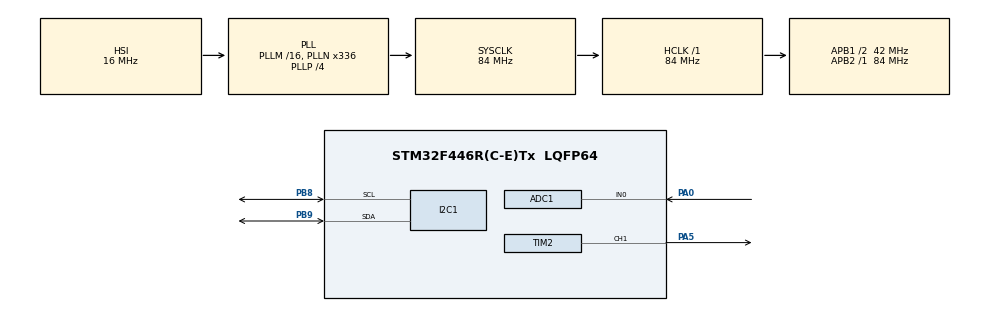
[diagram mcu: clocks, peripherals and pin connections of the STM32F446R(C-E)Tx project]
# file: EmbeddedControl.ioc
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ADC1.Channel-0\#ChannelRegularConversion=ADC_CHANNEL_0
ADC1.ContinuousConvMode=ENABLE
ADC1.DMAContinuousRequests=ENABLE
ADC1.NbrOfConversionFlag=1
ADC1.Rank-0\#ChannelRegularConversion=1
ADC1.SamplingTime-0\#ChannelRegularConversion=ADC_SAMPLETIME_3CYCLES
ADC1.master=1
Dma.ADC1.0.Direction=DMA_PERIPH_TO_MEMORY
Dma.ADC1.0.FIFOMode=DMA_FIFOMODE_DISABLE
Dma.ADC1.0.Instance=DMA2_Stream0
Dma.ADC1.0.MemDataAlignment=DMA_MDATAALIGN_HALFWORD
Dma.ADC1.0.MemInc=DMA_MINC_ENABLE
Dma.ADC1.0.Mode=DMA_CIRCULAR
Dma.ADC1.0.PeriphDataAlignment=DMA_PDATAALIGN_HALFWORD
Dma.ADC1.0.PeriphInc=DMA_PINC_DISABLE
Dma.ADC1.0.Priority=DMA_PRIORITY_LOW
Dma.Request0=ADC1
I2C1.I2C_Mode=I2C_Fast
Mcu.Family=STM32F4
Mcu.Name=STM32F446R(C-E)Tx
Mcu.Package=LQFP64
NVIC.DMA2_Stream0_IRQn=true\:0\:0\:false\:false\:true\:false\:true\:true
NVIC.PriorityGroup=NVIC_PRIORITYGROUP_0
NVIC.TIM6_DAC_IRQn=true\:0\:0\:false\:false\:true\:true\:true\:true
PA0-WKUP.Signal=ADCx_IN0
PA13.GPIO_Label=TMS
PA13.Mode=Serial_Wire
PA13.Signal=SYS_JTMS-SWDIO
PA14.GPIO_Label=TCK
PA14.Mode=Serial_Wire
PA14.Signal=SYS_JTCK-SWCLK
PA5.Signal=S_TIM2_CH1_ETR
PB3.GPIO_Label=SWO
PB3.Signal=SYS_JTDO-SWO
PB8.Mode=I2C
PB8.Signal=I2C1_SCL
PB9.Mode=I2C
PB9.Signal=I2C1_SDA
PH0-OSC_IN.Mode=HSE-External-Clock-Source
PH0-OSC_IN.Signal=RCC_OSC_IN
PH1-OSC_OUT.Mode=HSE-External-Clock-Source
PH1-OSC_OUT.Signal=RCC_OSC_OUT
ProjectManager.HeapSize=0x200
ProjectManager.StackSize=0x400
ProjectManager.TargetToolchain=STM32CubeIDE
RCC.48MHZClocksFreq_Value=84000000
RCC.AHBFreq_Value=84000000
RCC.APB1CLKDivider=RCC_HCLK_DIV2
RCC.APB1Freq_Value=42000000
RCC.APB1TimFreq_Value=84000000
RCC.APB2Freq_Value=84000000
RCC.APB2TimFreq_Value=84000000
RCC.CortexFreq_Value=84000000
RCC.FLatency-AdvancedSettings=FLASH_LATENCY_2
RCC.HCLKFreq_Value=84000000
RCC.HSE_VALUE=8000000
RCC.HSI_VALUE=16000000
RCC.PLLN=336
RCC.PLLP=RCC_PLLP_DIV4
RCC.SYSCLKFreq_VALUE=84000000
RCC.SYSCLKSource=RCC_SYSCLKSOURCE_PLLCLK
RCC.USBFreq_Value=168000000
RCC.VCOOutputFreq_Value=336000000
SH.ADCx_IN0.0=ADC1_IN0,IN0
SH.S_TIM2_CH1_ETR.0=TIM2_CH1,PWM Generation1 CH1
TIM2.Channel-PWM\ Generation1\ CH1=TIM_CHANNEL_1
TIM2.OCFastMode_PWM-PWM\ Generation1\ CH1=TIM_OCFAST_DISABLE
TIM2.Period=419999
TIM2.Pulse-PWM\ Generation1\ CH1=2000
TIM6.Period=265
TIM6.Prescaler=8399
VP_TIM6_VS_ClockSourceINT.Mode=Enable_Timer
board=NUCLEO-F446RE

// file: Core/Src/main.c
/* USER CODE BEGIN Header */
/**
  ******************************************************************************
  * @file           : main.c
  * @brief          : Progetto Levitating Ball
  ******************************************************************************
  * @attention
  *
  * Copyright (c) 2025 STMicroelectronics.
  * All rights reserved.
  *
  * This software is licensed under terms that can be found in the LICENSE file
  * in the root directory of this software component.
  * If no LICENSE file comes with this software, it is provided AS-IS.
  *
  ******************************************************************************
  */
/* USER CODE END Header */
#include "main.h"

/* USER CODE BEGIN Includes */
#include <stdio.h>
#include "vl53l1x.h"
#include "pid.h"
#include "potentiometer.h"
/* USER CODE END Includes */

ADC_HandleTypeDef hadc1;
DMA_HandleTypeDef hdma_adc1;

I2C_HandleTypeDef hi2c1;

TIM_HandleTypeDef htim2;
TIM_HandleTypeDef htim6;

/* USER CODE BEGIN PV */
/* --- FLAG DI SINCRONIZZAZIONE (volatile perché modificate/lette tra ISR e main) --- */

// Limiti fisici del tubo per la pallina levitante (in mm)
const float SETPOINT_MIN_MM = 40.0f;   // Posizione minima desiderata (fondo tubo)
const float SETPOINT_MAX_MM = 450.0f;  // Posizione massima desiderata (cima tubo)
volatile float setpoint_mm = 50.0f;    // Setpoint effettivo usato dal PID

volatile uint8_t loop_flag = 0;   // Alzata a 1 ogni 26ms dall'interrupt di TIM6
uint8_t print_flag = 0;           // Alzata a 1 ogni 10 cicli (200ms) per la telemetria
uint16_t print_counter = 0;       // Contatore secondario per rallentare le stampe

volatile uint16_t sensor_id = 0; //deve diventare 0xEACC (debug)
volatile uint8_t  sensor_ok = 0; // deve diventare 1 (debug)
volatile uint16_t distance_mm = 0; // i millimetri letti in tempo reale

PID_Controller fan_pid;

volatile float duty_output = 0.0f;
volatile uint32_t ccr_applied = 0;

/* USER CODE END PV */

void SystemClock_Config(void);
static void MX_GPIO_Init(void);
static void MX_DMA_Init(void);
static void MX_TIM6_Init(void);
static void MX_TIM2_Init(void);
static void MX_I2C1_Init(void);
static void MX_ADC1_Init(void);
/* USER CODE BEGIN PFP */
void Read_Sensors(void);
void Compute_PID(void);
void Update_Actuators(void);
void Print_Telemetry(void);
/* USER CODE END PFP */

/* USER CODE BEGIN 0 */
// Reindirizzamento di printf per funzionare sia su SWV/ITM sia su UART
int __io_putchar(int ch) {
    ITM_SendChar(ch);
    return ch;
}

/* USER CODE END 0 */

int main(void)
{

  /* MCU Configuration--------------------------------------------------------*/

  /* Reset of all peripherals, Initializes the Flash interface and the Systick. */
	HAL_Init();

  /* Configure the system clock */
  SystemClock_Config();

  /* Initialize all configured peripherals */
  MX_GPIO_Init();
  MX_DMA_Init();
  MX_TIM6_Init();
  MX_TIM2_Init();
  MX_I2C1_Init();
  MX_ADC1_Init();
  /* USER CODE BEGIN 2 */
  /* --- INIZIALIZZAZIONE E AVVIO SERVIZI (Prima del while) --- */
    // Avvia l'acquisizione continua del potenziometro in DMA
  	   Potentiometer_Init(&hadc1);

    // 1. Imposta un duty cycle di test (es. 50% con ARR = 419999 -> CCR = 210000)
      __HAL_TIM_SET_COMPARE(&htim2, TIM_CHANNEL_1, 0);

      // 2. Avvia la generazione PWM hardware sul canale 1 (PA5)
      HAL_TIM_PWM_Start(&htim2, TIM_CHANNEL_1);

      sensor_id = VL53L1X_CheckID(&hi2c1);
      if (sensor_id == 0xEACC) {
          sensor_ok = VL53L1X_Init(&hi2c1);
      }

      // Inizializzazione del PID
      // Ts = 0.0266f (37.5 Hz con ARR=265, PSC=8399)
      // out_min = 0.000f (0% soglia di spunto ventola)
      // out_max = 1.000f (100% tetto massimo per non sparare la sfera fuori dal tubo)
      // Guadagni iniziali indicativi da rifinire al banco: Kp=0.0016f, Ki=0.0002f, Kd=0.00055f
      PID_Init(&fan_pid, 0.0016f, 0.0002f, 0.00055f, 0.0266f, 0.000f, 1.000f);

      HAL_TIM_Base_Start_IT(&htim6);

  /* USER CODE END 2 */

  /* Infinite loop */
  /* USER CODE BEGIN WHILE */
  while (1)
  {

	  /* Controllo ad anello chiuso  */
	  if (loop_flag == 1)
	      {
	          loop_flag = 0; // Reset immediato della flag

	          Read_Sensors();
	          Compute_PID();

	      }
    /* USER CODE END WHILE */

  }
}

void SystemClock_Config(void)
{
  RCC_OscInitTypeDef RCC_OscInitStruct = {0};
  RCC_ClkInitTypeDef RCC_ClkInitStruct = {0};

  /** Configure the main internal regulator output voltage
  */
  __HAL_RCC_PWR_CLK_ENABLE();
  __HAL_PWR_VOLTAGESCALING_CONFIG(PWR_REGULATOR_VOLTAGE_SCALE3);

  /** Initializes the RCC Oscillators according to the specified parameters
  * in the RCC_OscInitTypeDef structure.
  */
  RCC_OscInitStruct.OscillatorType = RCC_OSCILLATORTYPE_HSI;
  RCC_OscInitStruct.HSIState = RCC_HSI_ON;
  RCC_OscInitStruct.HSICalibrationValue = RCC_HSICALIBRATION_DEFAULT;
  RCC_OscInitStruct.PLL.PLLState = RCC_PLL_ON;
  RCC_OscInitStruct.PLL.PLLSource = RCC_PLLSOURCE_HSI;
  RCC_OscInitStruct.PLL.PLLM = 16;
  RCC_OscInitStruct.PLL.PLLN = 336;
  RCC_OscInitStruct.PLL.PLLP = RCC_PLLP_DIV4;
  RCC_OscInitStruct.PLL.PLLQ = 2;
  RCC_OscInitStruct.PLL.PLLR = 2;
  if (HAL_RCC_OscConfig(&RCC_OscInitStruct) != HAL_OK)
  {
    Error_Handler();
  }

  /** Initializes the CPU, AHB and APB buses clocks
  */
  RCC_ClkInitStruct.ClockType = RCC_CLOCKTYPE_HCLK|RCC_CLOCKTYPE_SYSCLK
                              |RCC_CLOCKTYPE_PCLK1|RCC_CLOCKTYPE_PCLK2;
  RCC_ClkInitStruct.SYSCLKSource = RCC_SYSCLKSOURCE_PLLCLK;
  RCC_ClkInitStruct.AHBCLKDivider = RCC_SYSCLK_DIV1;
  RCC_ClkInitStruct.APB1CLKDivider = RCC_HCLK_DIV2;
  RCC_ClkInitStruct.APB2CLKDivider = RCC_HCLK_DIV1;

  if (HAL_RCC_ClockConfig(&RCC_ClkInitStruct, FLASH_LATENCY_2) != HAL_OK)
  {
    Error_Handler();
  }
}

static void MX_ADC1_Init(void)
{

  ADC_ChannelConfTypeDef sConfig = {0};

  /** Configure the global features of the ADC (Clock, Resolution, Data Alignment and number of conversion)
  */
  hadc1.Instance = ADC1;
  hadc1.Init.ClockPrescaler = ADC_CLOCK_SYNC_PCLK_DIV4;
  hadc1.Init.Resolution = ADC_RESOLUTION_12B;
  hadc1.Init.ScanConvMode = DISABLE;
  hadc1.Init.ContinuousConvMode = ENABLE;
  hadc1.Init.DiscontinuousConvMode = DISABLE;
  hadc1.Init.ExternalTrigConvEdge = ADC_EXTERNALTRIGCONVEDGE_NONE;
  hadc1.Init.ExternalTrigConv = ADC_SOFTWARE_START;
  hadc1.Init.DataAlign = ADC_DATAALIGN_RIGHT;
  hadc1.Init.NbrOfConversion = 1;
  hadc1.Init.DMAContinuousRequests = ENABLE;
  hadc1.Init.EOCSelection = ADC_EOC_SINGLE_CONV;
  if (HAL_ADC_Init(&hadc1) != HAL_OK)
  {
    Error_Handler();
  }

  /** Configure for the selected ADC regular channel its corresponding rank in the sequencer and its sample time.
  */
  sConfig.Channel = ADC_CHANNEL_0;
  sConfig.Rank = 1;
  sConfig.SamplingTime = ADC_SAMPLETIME_3CYCLES;
  if (HAL_ADC_ConfigChannel(&hadc1, &sConfig) != HAL_OK)
  {
    Error_Handler();
  }

}

static void MX_I2C1_Init(void)
{

  hi2c1.Instance = I2C1;
  hi2c1.Init.ClockSpeed = 400000;
  hi2c1.Init.DutyCycle = I2C_DUTYCYCLE_2;
  hi2c1.Init.OwnAddress1 = 0;
  hi2c1.Init.AddressingMode = I2C_ADDRESSINGMODE_7BIT;
  hi2c1.Init.DualAddressMode = I2C_DUALADDRESS_DISABLE;
  hi2c1.Init.OwnAddress2 = 0;
  hi2c1.Init.GeneralCallMode = I2C_GENERALCALL_DISABLE;
  hi2c1.Init.NoStretchMode = I2C_NOSTRETCH_DISABLE;
  if (HAL_I2C_Init(&hi2c1) != HAL_OK)
  {
    Error_Handler();
  }

}

static void MX_TIM2_Init(void)
{

  TIM_MasterConfigTypeDef sMasterConfig = {0};
  TIM_OC_InitTypeDef sConfigOC = {0};

  htim2.Instance = TIM2;
  htim2.Init.Prescaler = 0;
  htim2.Init.CounterMode = TIM_COUNTERMODE_UP;
  htim2.Init.Period = 419999;
  htim2.Init.ClockDivision = TIM_CLOCKDIVISION_DIV1;
  htim2.Init.AutoReloadPreload = TIM_AUTORELOAD_PRELOAD_DISABLE;
  if (HAL_TIM_PWM_Init(&htim2) != HAL_OK)
  {
    Error_Handler();
  }
  sMasterConfig.MasterOutputTrigger = TIM_TRGO_RESET;
  sMasterConfig.MasterSlaveMode = TIM_MASTERSLAVEMODE_DISABLE;
  if (HAL_TIMEx_MasterConfigSynchronization(&htim2, &sMasterConfig) != HAL_OK)
  {
    Error_Handler();
  }
  sConfigOC.OCMode = TIM_OCMODE_PWM1;
  sConfigOC.Pulse = 2000;
  sConfigOC.OCPolarity = TIM_OCPOLARITY_HIGH;
  sConfigOC.OCFastMode = TIM_OCFAST_DISABLE;
  if (HAL_TIM_PWM_ConfigChannel(&htim2, &sConfigOC, TIM_CHANNEL_1) != HAL_OK)
  {
    Error_Handler();
  }
  HAL_TIM_MspPostInit(&htim2);

}

static void MX_TIM6_Init(void)
{

  TIM_MasterConfigTypeDef sMasterConfig = {0};

  htim6.Instance = TIM6;
  htim6.Init.Prescaler = 8399;
  htim6.Init.CounterMode = TIM_COUNTERMODE_UP;
  htim6.Init.Period = 265;
  htim6.Init.AutoReloadPreload = TIM_AUTORELOAD_PRELOAD_DISABLE;
  if (HAL_TIM_Base_Init(&htim6) != HAL_OK)
  {
    Error_Handler();
  }
  sMasterConfig.MasterOutputTrigger = TIM_TRGO_RESET;
  sMasterConfig.MasterSlaveMode = TIM_MASTERSLAVEMODE_DISABLE;
  if (HAL_TIMEx_MasterConfigSynchronization(&htim6, &sMasterConfig) != HAL_OK)
  {
    Error_Handler();
  }

}

static void MX_DMA_Init(void)
{

  /* DMA controller clock enable */
  __HAL_RCC_DMA2_CLK_ENABLE();

  /* DMA interrupt init */
  /* DMA2_Stream0_IRQn interrupt configuration */
  HAL_NVIC_SetPriority(DMA2_Stream0_IRQn, 0, 0);
  HAL_NVIC_EnableIRQ(DMA2_Stream0_IRQn);

}

static void MX_GPIO_Init(void)
{

  /* GPIO Ports Clock Enable */
  __HAL_RCC_GPIOH_CLK_ENABLE();
  __HAL_RCC_GPIOA_CLK_ENABLE();
  __HAL_RCC_GPIOB_CLK_ENABLE();

}

/* USER CODE BEGIN 4 */

void Read_Sensors(void)
{
	// Aggiornamento del setpoint tramite modulo dedicato
	setpoint_mm = Potentiometer_GetSetpoint(SETPOINT_MIN_MM, SETPOINT_MAX_MM);
	printf("Setpoint: %.1f cm \n", (setpoint_mm + 15)/10);

	if (sensor_ok && VL53L1X_DataReady(&hi2c1)) {
		          distance_mm = VL53L1X_GetDistanceMM(&hi2c1);
		      }
  //  printf("VL53L1X ID: 0x%04X, Distanza: %d mm\r\n", sensor_id, distance_mm);

}

void Compute_PID(void)
{
			// Calcolo dell'azione di controllo PID
	        duty_output = PID_Update(&fan_pid, (float)setpoint_mm, (float)distance_mm);

	        // Attuazione sul PWM (TIM2 ARR = 419999 -> base 420000 passi)
	        ccr_applied = (uint32_t)(duty_output * 420000.0f);
	        __HAL_TIM_SET_COMPARE(&htim2, TIM_CHANNEL_1, ccr_applied);
	      //  printf("Duty: %.3f | CCR: %lu\n", duty_output, ccr_applied);

}

/**
  * @brief  Callback del Timer a 37 Hz (scatta esattamente ogni 26 ms).
  *
  */
void HAL_TIM_PeriodElapsedCallback(TIM_HandleTypeDef *htim)
{
    if (htim->Instance == TIM6)
    {
        loop_flag = 1;
    }
}

/* USER CODE END 4 */

void Error_Handler(void)
{
  __disable_irq();
  while (1)
  {
  }
}
